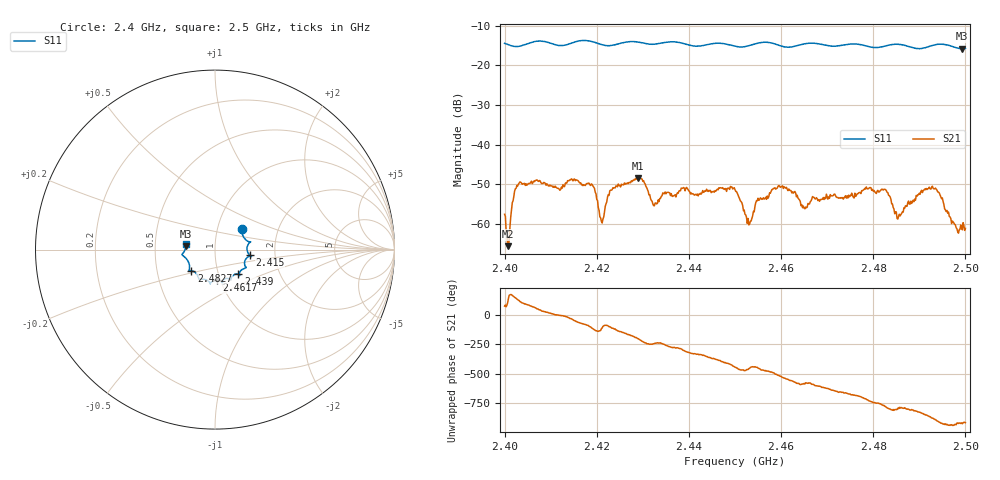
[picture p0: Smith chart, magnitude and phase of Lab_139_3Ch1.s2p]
# Hz S RI R 50
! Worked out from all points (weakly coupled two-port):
!   601 points, 2.4 GHz to 2.5 GHz, reference 50 ohm
!   highest |S21| = -48.44 dB at 2.429 GHz (marker M1); lowest = -65.7 dB at 2.4007 GHz (marker M2)
!   lowest |S11| = -15.8 dB at 2.4993 GHz (marker M3), VSWR 1.39, Z = 36 + j1.4 ohm
!   |S11| at or under -10 dB: start of sweep to end of sweep
!   S12 and S22 are empty: the file has one direction only
!   S11 on the Smith chart (normalised r, x): 2.4 GHz: 1.31, +0.31; 2.415 GHz: 1.47, -0.10; 2.439 GHz: 1.24, -0.35; 2.4617 GHz: 0.96, -0.34; 2.4827 GHz: 0.75, -0.18; 2.5 GHz: 0.72, +0.05
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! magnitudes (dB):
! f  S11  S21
! 2.4 GHz  -14.4  -57.6
! 2.4007 GHz  -14.7  -65.7
! 2.4032 GHz  -15.1  -49.7
! 2.415 GHz  -14.2  -48.8
! 2.4167 GHz  -13.7  -50.1
! 2.4193 GHz  -14.1  -50.8
! 2.4212 GHz  -14.8  -59.8
! 2.4233 GHz  -14.9  -51.4
! 2.429 GHz  -14.1  -48.4
! 2.4333 GHz  -14.5  -54.0
! 2.439 GHz  -14.5  -51.0
! 2.45 GHz  -15.1  -51.4
! 2.4532 GHz  -14.9  -60.1
! 2.455 GHz  -14.3  -53.6
! 2.4617 GHz  -15.4  -51.2
! 2.4667 GHz  -14.3  -53.8
! 2.4827 GHz  -15.1  -51.4
! 2.4833 GHz  -14.9  -52.8
! 2.4857 GHz  -14.7  -57.6
! 2.4932 GHz  -14.8  -51.2
! 2.4993 GHz  -15.8  -61.5
! 2.5 GHz  -15.7  -61.2
